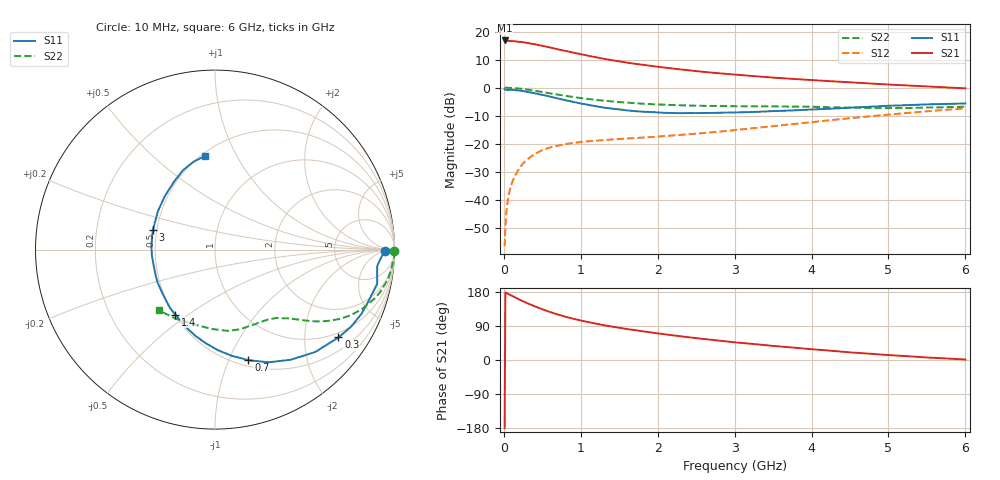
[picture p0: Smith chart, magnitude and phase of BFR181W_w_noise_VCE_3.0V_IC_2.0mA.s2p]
! Infineon Technologies  Discrete & RF Semiconductors
! BFR181W
! VCE =  3.0 V,  IC =  2.0 mA
! Common Emitter S-Parameters:  Jan 2017
# GHz  S  MA  R  50
!  f  S11  S21  S12  S22
! GHz  MAG  ANG  MAG  ANG  MAG  ANG  MAG  ANG
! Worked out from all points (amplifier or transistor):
!   77 points, 10 MHz to 6 GHz, reference 50 ohm
!   highest |S21| = 16.8 dB at 10 MHz (marker M1)
!   |S21| within 3 dB of that: start of sweep to 678.6 MHz
!   unconditionally stable (mu >= 1): 1.854 GHz to 3.982 GHz
!   at 130 MHz: K = 0.08, MSG = 24.4 dB, |S12| = -32.3 dB
!   at 2.2 GHz: K = 1.08, MAG = 10.2 dB, |S12| = -17.0 dB
!   at 6 GHz: K = 0.85, MSG = 3.6 dB, |S12| = -7.4 dB
!   lowest NFmin = 0.84 dB at 450 MHz
!   S11 on the Smith chart (normalised r, x): 10 MHz: 35, -4; 300 MHz: 0.85, -2.91; 700 MHz: 0.56, -1.18; 1.4 GHz: 0.51, -0.45; 3 GHz: 0.48, +0.12; 6 GHz: 0.52, +0.75
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0.01  0.9455 -0.4  6.944 -179.9  0.0015 78.9  1 -0.6
0.02  0.9215 -3.5  6.856 178.2  0.0033 93.0  1 -1.1
0.03  0.9169 -4.3  6.847 177.2  0.0054 89.7  1 -1.8
0.05  0.9082 -5.8  6.836 175.2  0.0096 87.5  0.9963 -3.1
0.08  0.9164 -9.5  6.791 172.1  0.0153 83.4  0.991 -5.0
0.15  0.9023 -18.5  6.691 165.1  0.0276 79.5  0.9796 -9.2
0.2  0.891 -23.8  6.564 159.7  0.0363 76.9  0.9639 -12.0
0.3  0.8441 -35.4  6.29 150.2  0.0521 69.1  0.9266 -17.4
0.4  0.7984 -45.6  5.963 141.7  0.0657 64.0  0.8842 -22.0
0.5  0.7447 -55.5  5.57 133.9  0.077 59.2  0.8389 -25.9
0.6  0.6951 -64.6  5.209 126.7  0.0861 54.9  0.7945 -29.1
0.7  0.6435 -73.2  4.839 120.2  0.0927 52.3  0.7531 -31.7
0.9  0.5592 -88.6  4.219 109.0  0.1036 47.6  0.6832 -35.8
1.1  0.4936 -102.6  3.7 100.0  0.1109 45.2  0.6291 -38.7
1.4  0.4246 -121.4  3.102 88.4  0.1193 43.5  0.5692 -42.5
1.6  0.3939 -133.7  2.795 81.7  0.1242 43.8  0.5433 -44.8
2.1  0.3563 -160.3  2.275 67.7  0.1377 46.5  0.4964 -51.2
3  0.3628 162.2  1.714 46.6  0.175 52.5  0.4679 -64.7
3.1  0.3645 158.9  1.67 44.9  0.1812 53.0  0.4667 -66.3
4.1  0.4137 130.6  1.342 26.9  0.2513 54.1  0.4534 -83.6
5.1  0.4811 110.3  1.12 11.8  0.341 49.2  0.4327 -108.6
6  0.5243 96.2  0.973 1.3  0.428 41.3  0.4595 -132.5
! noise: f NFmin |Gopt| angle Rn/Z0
0.45  0.84  0.56  18  0.32
0.9  0.9  0.51  33  0.3
1.9  1.35  0.31  81  0.23
2.4  1.58  0.27  95  0.25
